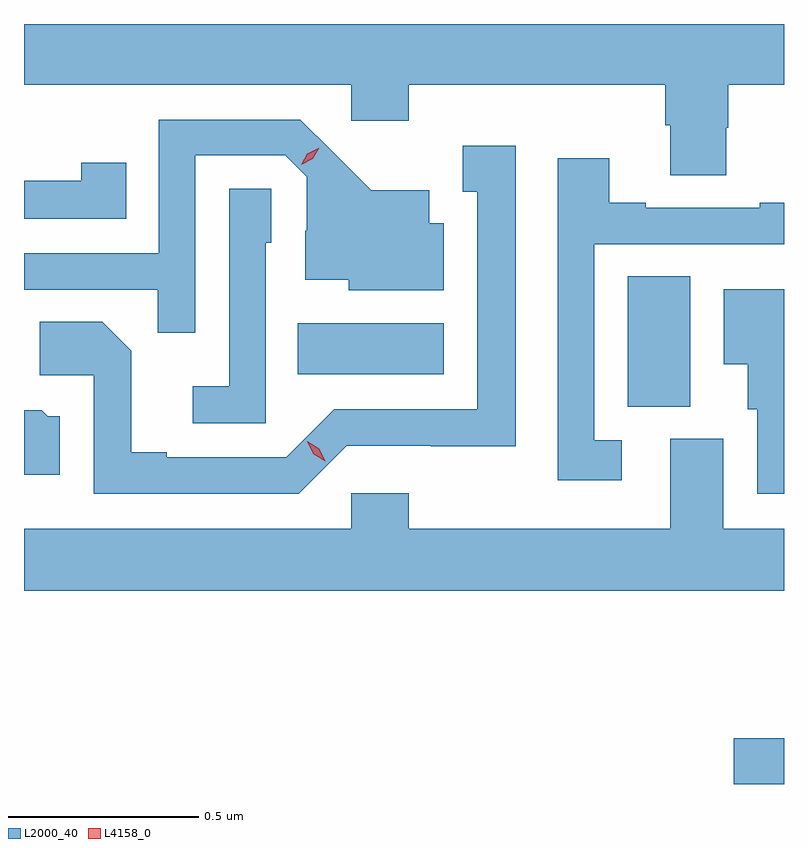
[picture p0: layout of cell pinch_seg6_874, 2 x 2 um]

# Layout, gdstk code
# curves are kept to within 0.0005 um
import gdstk
lib = gdstk.Library(unit=1e-6, precision=1e-09)
def R(c, l, rs):  # rectangles x0, y0, x1, y1
    for r in rs: c.add(gdstk.rectangle(r[:2], r[2:], *l))
def P(c, l, *ps):  # polygons
    for p in ps: c.add(gdstk.Polygon(p, *l))
L2000_40 = (2000, 40)
L4158_0 = (4158, 0)

pinch_seg6_874 = lib.new_cell('pinch_seg6_874')
R(pinch_seg6_874, L2000_40, [(148.949,976.132,149.081,976.252), (148.67,977.125,148.834,977.468), (147.802,977.21,148.186,977.344)])
P(pinch_seg6_874, L2000_40, [(148.929,977.859),(148.934,977.859),(148.934,977.972),(149.081,977.972),(149.081,978.132),(147.081,978.132),(147.081,977.972),(147.942,977.972),(147.942,977.877),(148.094,977.877),(148.094,977.972),(148.769,977.972),(148.769,977.866),(148.781,977.866),(148.781,977.734),(148.929,977.734)],
  [(147.531,977.787),(147.768,977.787),(147.825,977.73),(147.825,977.588),(147.821,977.588),(147.821,977.459),(147.936,977.459),(147.936,977.432),(148.186,977.432),(148.186,977.608),(148.147,977.608),(148.147,977.695),(147.995,977.695),(147.808,977.88),(147.435,977.88),(147.435,977.529),(147.081,977.529),(147.081,977.433),(147.433,977.433),(147.433,977.32),(147.531,977.32)],
  [(147.93,977.022),(148.152,977.022),(148.152,977.021),(148.375,977.021),(148.375,977.812),(148.235,977.812),(148.235,977.691),(148.274,977.691),(148.274,977.118),(147.897,977.118),(147.771,976.992),(147.457,976.992),(147.457,977.005),(147.363,977.005),(147.363,977.272),(147.287,977.348),(147.123,977.348),(147.123,977.208),(147.264,977.208),(147.264,976.896),(147.804,976.896)],
  [(148.654,977.037),(148.581,977.037),(148.581,977.553),(149.081,977.553),(149.081,977.662),(149.017,977.662),(149.017,977.649),(148.717,977.649),(148.717,977.662),(148.621,977.662),(148.621,977.779),(148.485,977.779),(148.485,976.932),(148.654,976.932)],
  [(147.35,977.767),(147.232,977.767),(147.232,977.72),(147.081,977.72),(147.081,977.619),(147.35,977.619)],
  [(147.717,977.556),(147.732,977.556),(147.732,977.699),(147.621,977.699),(147.621,977.179),(147.525,977.179),(147.525,977.082),(147.717,977.082)],
  [(149.081,977.434),(148.922,977.434),(148.922,977.237),(148.985,977.237),(148.985,977.118),(149.01,977.118),(149.01,976.896),(149.081,976.896)],
  [(147.175,977.1),(147.144,977.1),(147.128,977.116),(147.081,977.116),(147.081,976.946),(147.175,976.946)],
  [(149.081,976.804),(148.921,976.804),(148.921,977.04),(148.781,977.04),(148.781,976.804),(148.094,976.804),(148.094,976.897),(147.942,976.897),(147.942,976.804),(147.081,976.804),(147.081,976.64),(149.081,976.64)])
P(pinch_seg6_874, L4158_0, [(147.874,976.981),(147.843,977),(147.826,977.033),(147.826,977.034),(147.826,977.034),(147.858,977.014),(147.874,976.981),(147.874,976.981)],
  [(147.81,977.762),(147.81,977.762),(147.827,977.791),(147.858,977.807),(147.858,977.807),(147.858,977.806),(147.841,977.777),(147.81,977.762)])

lib.write_gds('pinch_seg6_874.gds')
